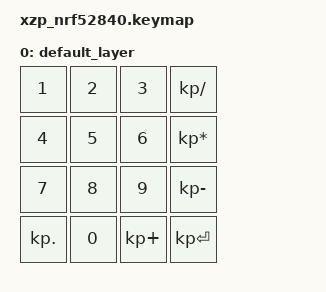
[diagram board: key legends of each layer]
// 4x4 matrix keyboard default keymap (numpad layout).
// See https://zmk.dev/docs/development/hardware-integration/new-shield#default-keymap.

#include <behaviors.dtsi>
#include <dt-bindings/zmk/keys.h>

/ {
    keymap {
        compatible = "zmk,keymap";

        default_layer {
            bindings = <
                &kp N1 &kp N2 &kp N3 &kp KP_DIVIDE
                &kp N4 &kp N5 &kp N6 &kp KP_MULTIPLY
                &kp N7 &kp N8 &kp N9 &kp KP_MINUS
                &kp KP_DOT &kp N0 &kp KP_PLUS &kp KP_ENTER
            >;
        };
    };
};
